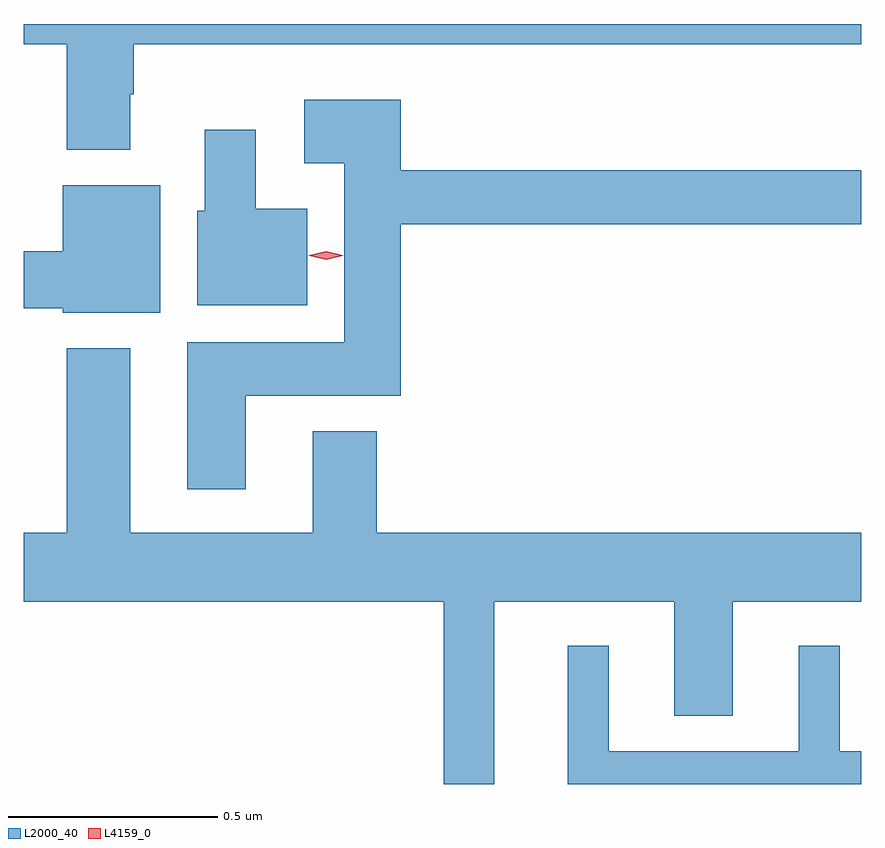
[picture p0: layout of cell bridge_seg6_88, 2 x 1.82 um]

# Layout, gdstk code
import gdstk
lib = gdstk.Library(unit=1e-6, precision=1e-09)
def P(c, l, *ps):  # polygons
    for p in ps: c.add(gdstk.Polygon(p, *l))
L2000_40 = (2000, 40)
L4159_0 = (4159, 0)

bridge_seg6_88 = lib.new_cell('bridge_seg6_88')
P(bridge_seg6_88, L2000_40, [(724.957,997.832),(724.965,997.832),(724.965,997.952),(726.703,997.952),(726.703,998),(724.703,998),(724.703,997.952),(724.805,997.952),(724.805,997.7),(724.957,997.7)],
  [(725.233,997.112),(725.603,997.112),(725.603,997.522),(726.703,997.522),(726.703,997.651),(725.603,997.651),(725.603,997.819),(725.373,997.819),(725.373,997.667),(725.468,997.667),(725.468,997.24),(725.093,997.24),(725.093,996.888),(725.233,996.888)],
  [(725.38,997.558),(725.257,997.558),(725.257,997.747),(725.135,997.747),(725.135,997.554),(725.117,997.554),(725.117,997.328),(725.38,997.328)],
  [(725.029,997.615),(724.796,997.615),(724.796,997.457),(724.703,997.457),(724.703,997.321),(724.796,997.321),(724.796,997.31),(725.029,997.31)],
  [(725.827,996.62),(726.257,996.62),(726.257,996.347),(726.397,996.347),(726.397,996.62),(726.703,996.62),(726.703,996.784),(725.546,996.784),(725.546,997.027),(725.393,997.027),(725.393,996.784),(724.957,996.784),(724.957,997.225),(724.805,997.225),(724.805,996.784),(724.703,996.784),(724.703,996.62),(725.706,996.62),(725.706,996.184),(725.827,996.184)],
  [(726.703,996.262),(726.652,996.262),(726.652,996.514),(726.554,996.514),(726.554,996.262),(726.1,996.262),(726.1,996.514),(726.002,996.514),(726.002,996.184),(726.703,996.184)])
P(bridge_seg6_88, L4159_0, [(725.425,997.437),(725.385,997.446),(725.384,997.447),(725.385,997.447),(725.425,997.457),(725.465,997.447),(725.465,997.447),(725.465,997.446)])

lib.write_gds('bridge_seg6_88.gds')
